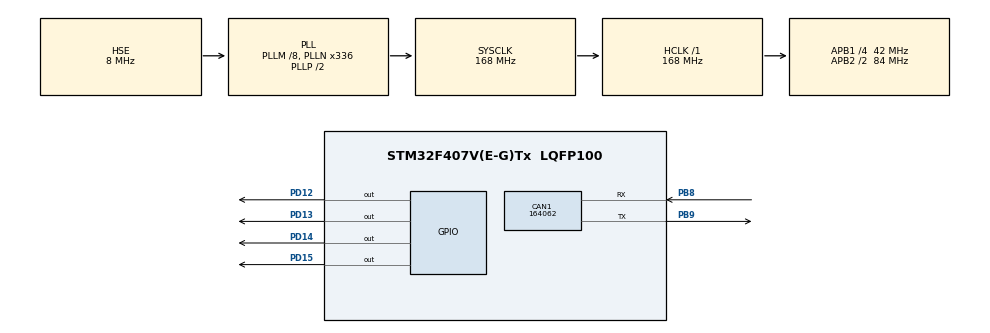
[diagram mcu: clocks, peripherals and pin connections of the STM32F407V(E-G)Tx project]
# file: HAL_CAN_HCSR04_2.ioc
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CAN1.BS1=CAN_BS1_10TQ
CAN1.BS2=CAN_BS2_5TQ
CAN1.CalculateBaudRate=164062
CAN1.CalculateTimeBit=6095
CAN1.CalculateTimeQuantum=380.95238095238096
Mcu.Family=STM32F4
Mcu.Name=STM32F407V(E-G)Tx
Mcu.Package=LQFP100
NVIC.CAN1_RX0_IRQn=true\:0\:0\:false\:false\:true\:true\:true\:true
NVIC.PriorityGroup=NVIC_PRIORITYGROUP_0
PB8.Mode=CAN_Activate
PB8.Signal=CAN1_RX
PB9.Mode=CAN_Activate
PB9.Signal=CAN1_TX
PD12.Signal=GPIO_Output
PD13.Signal=GPIO_Output
PD14.Signal=GPIO_Output
PD15.Signal=GPIO_Output
PH0-OSC_IN.Mode=HSE-External-Oscillator
PH0-OSC_IN.Signal=RCC_OSC_IN
PH1-OSC_OUT.Mode=HSE-External-Oscillator
PH1-OSC_OUT.Signal=RCC_OSC_OUT
ProjectManager.HeapSize=0x200
ProjectManager.StackSize=0x400
ProjectManager.TargetToolchain=STM32CubeIDE
RCC.48MHZClocksFreq_Value=48000000
RCC.AHBFreq_Value=168000000
RCC.APB1CLKDivider=RCC_HCLK_DIV4
RCC.APB1Freq_Value=42000000
RCC.APB1TimFreq_Value=84000000
RCC.APB2CLKDivider=RCC_HCLK_DIV2
RCC.APB2Freq_Value=84000000
RCC.APB2TimFreq_Value=168000000
RCC.CortexFreq_Value=168000000
RCC.HCLKFreq_Value=168000000
RCC.HSE_VALUE=8000000
RCC.HSI_VALUE=16000000
RCC.PLLM=8
RCC.PLLN=336
RCC.PLLQ=7
RCC.PLLSourceVirtual=RCC_PLLSOURCE_HSE
RCC.SYSCLKFreq_VALUE=168000000
RCC.SYSCLKSource=RCC_SYSCLKSOURCE_PLLCLK
RCC.VCOOutputFreq_Value=336000000
board=STM32F407G-DISC1

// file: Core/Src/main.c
/* USER CODE BEGIN Header */
/**
  ******************************************************************************
  * @file           : main.c
  * @brief          : Main program body
  ******************************************************************************
  * @attention
  *
  * Copyright (c) 2024 STMicroelectronics.
  * All rights reserved.
  *
  * This software is licensed under terms that can be found in the LICENSE file
  * in the root directory of this software component.
  * If no LICENSE file comes with this software, it is provided AS-IS.
  *
  ******************************************************************************
  */
/* USER CODE END Header */
#include "main.h"

CAN_HandleTypeDef hcan1;

/* USER CODE BEGIN PV */
CAN_RxHeaderTypeDef pRxHeader;
CAN_TxHeaderTypeDef pHeader;
CAN_FilterTypeDef sFilterConfig;
uint8_t rxData;
/* USER CODE END PV */

void SystemClock_Config(void);
static void MX_GPIO_Init(void);
static void MX_CAN1_Init(void);

int main(void)
{

  /* MCU Configuration--------------------------------------------------------*/

  /* Reset of all peripherals, Initializes the Flash interface and the Systick. */
  HAL_Init();

  /* Configure the system clock */
  SystemClock_Config();

  /* Initialize all configured peripherals */
  MX_GPIO_Init();
  MX_CAN1_Init();
  /* USER CODE BEGIN 2 */

  pHeader.DLC=1;
  pHeader.IDE=CAN_ID_EXT;
  pHeader.RTR=CAN_RTR_DATA;
  pHeader.ExtId=0x00000007;

  sFilterConfig.FilterActivation=ENABLE;
  sFilterConfig.FilterBank=0;
  sFilterConfig.FilterFIFOAssignment=CAN_FilterFIFO0;
  sFilterConfig.FilterIdHigh=0x0AF09CE6 >> 13;
  sFilterConfig.FilterIdLow=0;
  sFilterConfig.FilterMaskIdHigh=0xFFFFFFFF >> 13;
  sFilterConfig.FilterMaskIdLow=0;
  sFilterConfig.FilterMode=CAN_FILTERMODE_IDMASK;
  sFilterConfig.FilterScale=CAN_FILTERSCALE_32BIT;

  HAL_CAN_ConfigFilter(&hcan1, &sFilterConfig);

  HAL_CAN_Start(&hcan1);

  HAL_CAN_ActivateNotification(&hcan1, CAN_IT_RX_FIFO0_MSG_PENDING);

  /* USER CODE END 2 */

  /* Infinite loop */
  while (1)
  {

    /* USER CODE BEGIN 3 */
	  if(rxData>6 && rxData<12)
	  {
		  HAL_GPIO_WritePin(GPIOD, GPIO_PIN_12, GPIO_PIN_SET);
		  HAL_GPIO_WritePin(GPIOD, GPIO_PIN_13 | GPIO_PIN_14 | GPIO_PIN_15 , GPIO_PIN_RESET);
	  }
	  else if(rxData>12 && rxData<20)
	  {
		  HAL_GPIO_WritePin(GPIOD, GPIO_PIN_12 | GPIO_PIN_13 , GPIO_PIN_SET);
		  HAL_GPIO_WritePin(GPIOD, GPIO_PIN_14 | GPIO_PIN_15 , GPIO_PIN_RESET);
	  }
	  else if(rxData>20 && rxData<30)
	  {
		  HAL_GPIO_WritePin(GPIOD, GPIO_PIN_12 | GPIO_PIN_13 |GPIO_PIN_14  , GPIO_PIN_SET);
		  HAL_GPIO_WritePin(GPIOD, GPIO_PIN_15 , GPIO_PIN_RESET);
	  }
	  else if(rxData>30)
	  {
		  HAL_GPIO_WritePin(GPIOD, GPIO_PIN_12 | GPIO_PIN_13 |GPIO_PIN_14 | GPIO_PIN_15 , GPIO_PIN_SET);
	  }
	  else
	  {
		  HAL_GPIO_WritePin(GPIOD, GPIO_PIN_12 | GPIO_PIN_13 |GPIO_PIN_14 | GPIO_PIN_15 , GPIO_PIN_RESET);
	  }
  }
  /* USER CODE END 3 */
}

void SystemClock_Config(void)
{
  RCC_OscInitTypeDef RCC_OscInitStruct = {0};
  RCC_ClkInitTypeDef RCC_ClkInitStruct = {0};

  /** Configure the main internal regulator output voltage
  */
  __HAL_RCC_PWR_CLK_ENABLE();
  __HAL_PWR_VOLTAGESCALING_CONFIG(PWR_REGULATOR_VOLTAGE_SCALE1);

  /** Initializes the RCC Oscillators according to the specified parameters
  * in the RCC_OscInitTypeDef structure.
  */
  RCC_OscInitStruct.OscillatorType = RCC_OSCILLATORTYPE_HSE;
  RCC_OscInitStruct.HSEState = RCC_HSE_ON;
  RCC_OscInitStruct.PLL.PLLState = RCC_PLL_ON;
  RCC_OscInitStruct.PLL.PLLSource = RCC_PLLSOURCE_HSE;
  RCC_OscInitStruct.PLL.PLLM = 8;
  RCC_OscInitStruct.PLL.PLLN = 336;
  RCC_OscInitStruct.PLL.PLLP = RCC_PLLP_DIV2;
  RCC_OscInitStruct.PLL.PLLQ = 7;
  if (HAL_RCC_OscConfig(&RCC_OscInitStruct) != HAL_OK)
  {
    Error_Handler();
  }

  /** Initializes the CPU, AHB and APB buses clocks
  */
  RCC_ClkInitStruct.ClockType = RCC_CLOCKTYPE_HCLK|RCC_CLOCKTYPE_SYSCLK
                              |RCC_CLOCKTYPE_PCLK1|RCC_CLOCKTYPE_PCLK2;
  RCC_ClkInitStruct.SYSCLKSource = RCC_SYSCLKSOURCE_PLLCLK;
  RCC_ClkInitStruct.AHBCLKDivider = RCC_SYSCLK_DIV1;
  RCC_ClkInitStruct.APB1CLKDivider = RCC_HCLK_DIV4;
  RCC_ClkInitStruct.APB2CLKDivider = RCC_HCLK_DIV2;

  if (HAL_RCC_ClockConfig(&RCC_ClkInitStruct, FLASH_LATENCY_5) != HAL_OK)
  {
    Error_Handler();
  }
}

static void MX_CAN1_Init(void)
{

  hcan1.Instance = CAN1;
  hcan1.Init.Prescaler = 16;
  hcan1.Init.Mode = CAN_MODE_NORMAL;
  hcan1.Init.SyncJumpWidth = CAN_SJW_1TQ;
  hcan1.Init.TimeSeg1 = CAN_BS1_10TQ;
  hcan1.Init.TimeSeg2 = CAN_BS2_5TQ;
  hcan1.Init.TimeTriggeredMode = DISABLE;
  hcan1.Init.AutoBusOff = DISABLE;
  hcan1.Init.AutoWakeUp = DISABLE;
  hcan1.Init.AutoRetransmission = DISABLE;
  hcan1.Init.ReceiveFifoLocked = DISABLE;
  hcan1.Init.TransmitFifoPriority = DISABLE;
  if (HAL_CAN_Init(&hcan1) != HAL_OK)
  {
    Error_Handler();
  }

}

static void MX_GPIO_Init(void)
{
  GPIO_InitTypeDef GPIO_InitStruct = {0};

  /* GPIO Ports Clock Enable */
  __HAL_RCC_GPIOH_CLK_ENABLE();
  __HAL_RCC_GPIOD_CLK_ENABLE();
  __HAL_RCC_GPIOB_CLK_ENABLE();

  /*Configure GPIO pin Output Level */
  HAL_GPIO_WritePin(GPIOD, GPIO_PIN_12|GPIO_PIN_13|GPIO_PIN_14|GPIO_PIN_15, GPIO_PIN_RESET);

  /*Configure GPIO pins : PD12 PD13 PD14 PD15 */
  GPIO_InitStruct.Pin = GPIO_PIN_12|GPIO_PIN_13|GPIO_PIN_14|GPIO_PIN_15;
  GPIO_InitStruct.Mode = GPIO_MODE_OUTPUT_PP;
  GPIO_InitStruct.Pull = GPIO_NOPULL;
  GPIO_InitStruct.Speed = GPIO_SPEED_FREQ_LOW;
  HAL_GPIO_Init(GPIOD, &GPIO_InitStruct);

}

void Error_Handler(void)
{
  __disable_irq();
  while (1)
  {
  }
}
